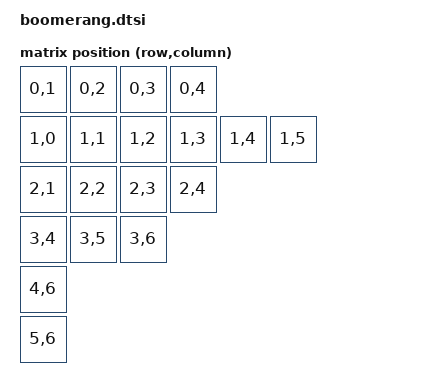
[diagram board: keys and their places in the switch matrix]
#include <dt-bindings/zmk/matrix_transform.h>

/ {
    chosen {
        zmk,matrix-transform = &default_transform;
    };

    default_transform: matrix_transform {
        compatible = "zmk,matrix-transform";

        rows = <6>;
        columns = <7>;

        map = <
            RC(0,1) RC(0,2) RC(0,3) RC(0,4)
            RC(1,0) RC(1,1) RC(1,2) RC(1,3) RC(1,4) RC(1,5)
            RC(2,1) RC(2,2) RC(2,3) RC(2,4)
            RC(3,4) RC(3,5) RC(3,6)
            RC(4,6)
            RC(5,6)
        >;
    };
};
